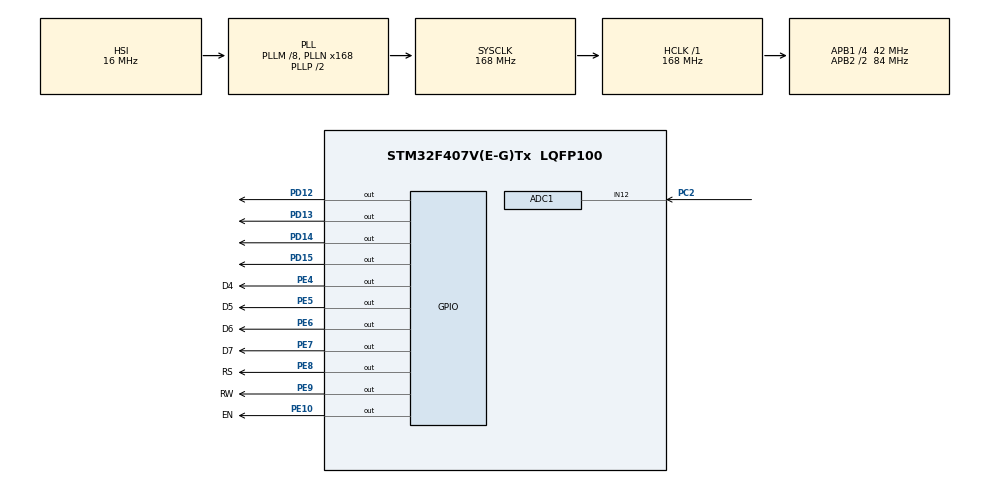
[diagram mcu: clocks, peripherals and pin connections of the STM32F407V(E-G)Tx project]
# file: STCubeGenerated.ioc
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ADC1.Channel-0\#ChannelRegularConversion=ADC_CHANNEL_12
ADC1.ContinuousConvMode=ENABLE
ADC1.NbrOfConversion=1
ADC1.NbrOfConversionFlag=1
ADC1.Rank-0\#ChannelRegularConversion=1
ADC1.SamplingTime-0\#ChannelRegularConversion=ADC_SAMPLETIME_3CYCLES
ADC1.ScanConvMode=ENABLE
ADC1.master=1
Mcu.Family=STM32F4
Mcu.Name=STM32F407V(E-G)Tx
Mcu.Package=LQFP100
NVIC.PriorityGroup=NVIC_PRIORITYGROUP_4
PC2.Signal=ADCx_IN12
PD12.Signal=GPIO_Output
PD13.Signal=GPIO_Output
PD14.Signal=GPIO_Output
PD15.Signal=GPIO_Output
PE10.GPIO_Label=EN
PE10.GPIO_ModeDefaultOutputPP=GPIO_MODE_OUTPUT_PP
PE10.GPIO_PuPd=GPIO_NOPULL
PE10.Signal=GPIO_Output
PE4.GPIO_Label=D4
PE4.GPIO_ModeDefaultOutputPP=GPIO_MODE_OUTPUT_PP
PE4.GPIO_PuPd=GPIO_NOPULL
PE4.Signal=GPIO_Output
PE5.GPIO_Label=D5
PE5.GPIO_ModeDefaultOutputPP=GPIO_MODE_OUTPUT_PP
PE5.GPIO_PuPd=GPIO_NOPULL
PE5.Signal=GPIO_Output
PE6.GPIO_Label=D6
PE6.GPIO_ModeDefaultOutputPP=GPIO_MODE_OUTPUT_PP
PE6.GPIO_PuPd=GPIO_NOPULL
PE6.Signal=GPIO_Output
PE7.GPIO_Label=D7
PE7.GPIO_ModeDefaultOutputPP=GPIO_MODE_OUTPUT_PP
PE7.GPIO_PuPd=GPIO_NOPULL
PE7.Signal=GPIO_Output
PE8.GPIO_Label=RS
PE8.GPIO_ModeDefaultOutputPP=GPIO_MODE_OUTPUT_PP
PE8.GPIO_PuPd=GPIO_NOPULL
PE8.Signal=GPIO_Output
PE9.GPIO_Label=RW
PE9.GPIO_ModeDefaultOutputPP=GPIO_MODE_OUTPUT_PP
PE9.GPIO_PuPd=GPIO_NOPULL
PE9.Signal=GPIO_Output
PH0-OSC_IN.Mode=HSE-External-Oscillator
PH0-OSC_IN.Signal=RCC_OSC_IN
PH1-OSC_OUT.Mode=HSE-External-Oscillator
PH1-OSC_OUT.Signal=RCC_OSC_OUT
ProjectManager.HeapSize=0x200
ProjectManager.StackSize=0x400
ProjectManager.TargetToolchain=MDK-ARM V5
RCC.48MHZClocksFreq_Value=84000000
RCC.AHBFreq_Value=168000000
RCC.APB1CLKDivider=RCC_HCLK_DIV4
RCC.APB1Freq_Value=42000000
RCC.APB1TimFreq_Value=84000000
RCC.APB2CLKDivider=RCC_HCLK_DIV2
RCC.APB2Freq_Value=84000000
RCC.APB2TimFreq_Value=168000000
RCC.CortexFreq_Value=168000000
RCC.HCLKFreq_Value=168000000
RCC.HSE_VALUE=8000000
RCC.HSI_VALUE=16000000
RCC.LSE_VALUE=32768
RCC.PLLM=8
RCC.PLLN=168
RCC.SYSCLKFreq_VALUE=168000000
RCC.SYSCLKSource=RCC_SYSCLKSOURCE_PLLCLK
RCC.VCOOutputFreq_Value=336000000
SH.ADCx_IN12.0=ADC1_IN12,IN12
board=custom

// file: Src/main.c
/* USER CODE BEGIN Header */
/**
  ******************************************************************************
  * @file           : main.c
  * @brief          : Main program body
  ******************************************************************************
  * @attention
  *
  * Copyright (c) 2023 STMicroelectronics.
  * All rights reserved.
  *
  * This software is licensed under terms that can be found in the LICENSE file
  * in the root directory of this software component.
  * If no LICENSE file comes with this software, it is provided AS-IS.
  *
  ******************************************************************************
  */
/* USER CODE END Header */
#include "main.h"

/* USER CODE BEGIN Includes */
#include "lcd.h"
#include "stdio.h"

/* USER CODE END Includes */

ADC_HandleTypeDef hadc1;

void SystemClock_Config(void);
static void MX_GPIO_Init(void);
static void MX_ADC1_Init(void);

int main(void)
{

  /* MCU Configuration--------------------------------------------------------*/

  /* Reset of all peripherals, Initializes the Flash interface and the Systick. */
  HAL_Init();

  /* Configure the system clock */
  SystemClock_Config();

  /* Initialize all configured peripherals */
  MX_GPIO_Init();
  MX_ADC1_Init();
  /* USER CODE BEGIN 2 */

	// lcd_init
	HAL_GPIO_WritePin(RW_GPIO_Port, RW_Pin, 0);
	Lcd_PortType ports[] = { D4_GPIO_Port, D5_GPIO_Port, D6_GPIO_Port, D7_GPIO_Port };
	Lcd_PinType pins[] = {D4_Pin, D5_Pin, D6_Pin, D7_Pin};
	Lcd_HandleTypeDef lcd;
	lcd = Lcd_create(ports, pins, RS_GPIO_Port, RS_Pin, EN_GPIO_Port, EN_Pin, LCD_4_BIT_MODE);

	// write something and wait 3sec
	Lcd_string(&lcd, "BANU Embedded Sys.");
	Lcd_cursor(&lcd, 1,6);
	Lcd_int(&lcd, 2023);
	HAL_Delay(3000);

  /* USER CODE END 2 */

  /* Infinite loop */
  /* USER CODE BEGIN WHILE */

	char str[16];
	int a=60;
	int adcValue;
	int temp;

  while (1)
  {

		HAL_GPIO_TogglePin(GPIOD, GPIO_PIN_15);
		HAL_Delay(500);

		// read LM35
		HAL_ADC_Start(&hadc1);
		HAL_ADC_PollForConversion(&hadc1, 100);
		adcValue=HAL_ADC_GetValue(&hadc1);
		HAL_ADC_Stop(&hadc1);

		temp=(3000*adcValue/4096);

		Lcd_clear(&lcd);
		snprintf(str, 16, "Temperature= %d", temp);
		Lcd_string(&lcd, str);

    /* USER CODE END WHILE */

  }
}

void SystemClock_Config(void)
{
  RCC_OscInitTypeDef RCC_OscInitStruct = {0};
  RCC_ClkInitTypeDef RCC_ClkInitStruct = {0};

  /** Configure the main internal regulator output voltage
  */
  __HAL_RCC_PWR_CLK_ENABLE();
  __HAL_PWR_VOLTAGESCALING_CONFIG(PWR_REGULATOR_VOLTAGE_SCALE1);

  /** Initializes the RCC Oscillators according to the specified parameters
  * in the RCC_OscInitTypeDef structure.
  */
  RCC_OscInitStruct.OscillatorType = RCC_OSCILLATORTYPE_HSI;
  RCC_OscInitStruct.HSIState = RCC_HSI_ON;
  RCC_OscInitStruct.HSICalibrationValue = RCC_HSICALIBRATION_DEFAULT;
  RCC_OscInitStruct.PLL.PLLState = RCC_PLL_ON;
  RCC_OscInitStruct.PLL.PLLSource = RCC_PLLSOURCE_HSI;
  RCC_OscInitStruct.PLL.PLLM = 8;
  RCC_OscInitStruct.PLL.PLLN = 168;
  RCC_OscInitStruct.PLL.PLLP = RCC_PLLP_DIV2;
  RCC_OscInitStruct.PLL.PLLQ = 4;
  if (HAL_RCC_OscConfig(&RCC_OscInitStruct) != HAL_OK)
  {
    Error_Handler();
  }

  /** Initializes the CPU, AHB and APB buses clocks
  */
  RCC_ClkInitStruct.ClockType = RCC_CLOCKTYPE_HCLK|RCC_CLOCKTYPE_SYSCLK
                              |RCC_CLOCKTYPE_PCLK1|RCC_CLOCKTYPE_PCLK2;
  RCC_ClkInitStruct.SYSCLKSource = RCC_SYSCLKSOURCE_PLLCLK;
  RCC_ClkInitStruct.AHBCLKDivider = RCC_SYSCLK_DIV1;
  RCC_ClkInitStruct.APB1CLKDivider = RCC_HCLK_DIV4;
  RCC_ClkInitStruct.APB2CLKDivider = RCC_HCLK_DIV2;

  if (HAL_RCC_ClockConfig(&RCC_ClkInitStruct, FLASH_LATENCY_5) != HAL_OK)
  {
    Error_Handler();
  }
}

static void MX_ADC1_Init(void)
{

  ADC_ChannelConfTypeDef sConfig = {0};

  /** Configure the global features of the ADC (Clock, Resolution, Data Alignment and number of conversion)
  */
  hadc1.Instance = ADC1;
  hadc1.Init.ClockPrescaler = ADC_CLOCK_SYNC_PCLK_DIV4;
  hadc1.Init.Resolution = ADC_RESOLUTION_12B;
  hadc1.Init.ScanConvMode = ENABLE;
  hadc1.Init.ContinuousConvMode = ENABLE;
  hadc1.Init.DiscontinuousConvMode = DISABLE;
  hadc1.Init.ExternalTrigConvEdge = ADC_EXTERNALTRIGCONVEDGE_NONE;
  hadc1.Init.ExternalTrigConv = ADC_SOFTWARE_START;
  hadc1.Init.DataAlign = ADC_DATAALIGN_RIGHT;
  hadc1.Init.NbrOfConversion = 1;
  hadc1.Init.DMAContinuousRequests = DISABLE;
  hadc1.Init.EOCSelection = ADC_EOC_SINGLE_CONV;
  if (HAL_ADC_Init(&hadc1) != HAL_OK)
  {
    Error_Handler();
  }

  /** Configure for the selected ADC regular channel its corresponding rank in the sequencer and its sample time.
  */
  sConfig.Channel = ADC_CHANNEL_12;
  sConfig.Rank = 1;
  sConfig.SamplingTime = ADC_SAMPLETIME_3CYCLES;
  if (HAL_ADC_ConfigChannel(&hadc1, &sConfig) != HAL_OK)
  {
    Error_Handler();
  }

}

static void MX_GPIO_Init(void)
{
  GPIO_InitTypeDef GPIO_InitStruct = {0};

  /* GPIO Ports Clock Enable */
  __HAL_RCC_GPIOE_CLK_ENABLE();
  __HAL_RCC_GPIOH_CLK_ENABLE();
  __HAL_RCC_GPIOC_CLK_ENABLE();
  __HAL_RCC_GPIOD_CLK_ENABLE();

  /*Configure GPIO pin Output Level */
  HAL_GPIO_WritePin(GPIOE, D4_Pin|D5_Pin|D6_Pin|D7_Pin
                          |RS_Pin|RW_Pin|EN_Pin, GPIO_PIN_RESET);

  /*Configure GPIO pin Output Level */
  HAL_GPIO_WritePin(GPIOD, GPIO_PIN_12|GPIO_PIN_13|GPIO_PIN_14|GPIO_PIN_15, GPIO_PIN_RESET);

  /*Configure GPIO pins : D4_Pin D5_Pin D6_Pin D7_Pin
                           RS_Pin RW_Pin EN_Pin */
  GPIO_InitStruct.Pin = D4_Pin|D5_Pin|D6_Pin|D7_Pin
                          |RS_Pin|RW_Pin|EN_Pin;
  GPIO_InitStruct.Mode = GPIO_MODE_OUTPUT_PP;
  GPIO_InitStruct.Pull = GPIO_NOPULL;
  GPIO_InitStruct.Speed = GPIO_SPEED_FREQ_LOW;
  HAL_GPIO_Init(GPIOE, &GPIO_InitStruct);

  /*Configure GPIO pins : PD12 PD13 PD14 PD15 */
  GPIO_InitStruct.Pin = GPIO_PIN_12|GPIO_PIN_13|GPIO_PIN_14|GPIO_PIN_15;
  GPIO_InitStruct.Mode = GPIO_MODE_OUTPUT_PP;
  GPIO_InitStruct.Pull = GPIO_NOPULL;
  GPIO_InitStruct.Speed = GPIO_SPEED_FREQ_LOW;
  HAL_GPIO_Init(GPIOD, &GPIO_InitStruct);

}

void Error_Handler(void)
{
  __disable_irq();
  while (1)
  {
  }
}
